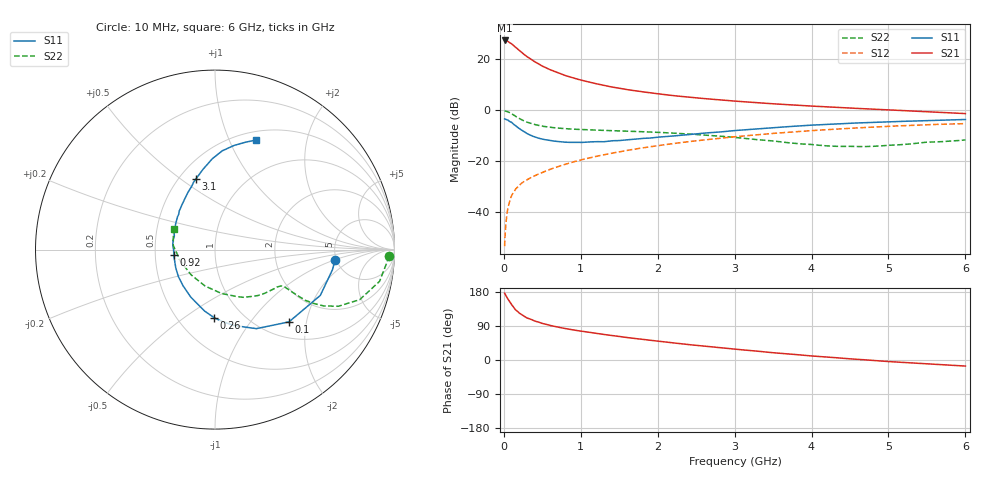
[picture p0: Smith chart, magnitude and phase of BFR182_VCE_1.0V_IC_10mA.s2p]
! Infineon Technologies  Discrete & RF Semiconductors
! BFR182
! VCE =  1.0 V,  IC =  10 mA
! Common Emitter S-Parameters:  Nov 2015
# GHz  S  MA  R  50
!  f  S11  S21  S12  S22
! GHz  MAG  ANG  MAG  ANG  MAG  ANG  MAG  ANG
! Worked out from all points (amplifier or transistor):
!   210 points, 10 MHz to 6 GHz, reference 50 ohm
!   highest |S21| = 27.4 dB at 10 MHz (marker M1)
!   |S21| within 3 dB of that: start of sweep to 165.8 MHz
!   unconditionally stable (mu >= 1): 656.1 MHz to 2.893 GHz
!   at 185 MHz: K = 0.55, MSG = 27.0 dB, |S12| = -30.1 dB
!   at 1.52 GHz: K = 1.08, MAG = 10.7 dB, |S12| = -16.3 dB
!   at 6 GHz: K = 0.93, MSG = 2.0 dB, |S12| = -5.3 dB
!   S11 on the Smith chart (normalised r, x): 10 MHz: 4.84, -1.05; 100 MHz: 1.32, -1.59; 260 MHz: 0.74, -0.66; 920 MHz: 0.63, -0.04; 3.1 GHz: 0.60, +0.57; 6 GHz: 0.59, +1.27
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0.01  0.6712 -5.1  23.47 176.3  0.0021 90.8  0.9694 -2.1
0.02  0.6641 -9.7  23.38 172.3  0.0043 85.0  0.9598 -4.4
0.05  0.6399 -23.5  22.7 161.6  0.0112 81.1  0.9338 -10.9
0.1  0.5763 -44.3  20.2 146.2  0.0207 72.8  0.8532 -19.1
0.15  0.4969 -62.4  17.42 132.9  0.0275 66.6  0.7575 -24.6
0.2  0.4352 -76.2  15.02 124.0  0.0331 63.9  0.6823 -27.4
0.24  0.3963 -86.0  13.32 118.3  0.0373 62.8  0.6363 -28.4
0.26  0.3793 -90.7  12.59 115.7  0.0391 62.8  0.6157 -28.8
0.3  0.3473 -99.6  11.3 111.0  0.0425 63.3  0.5794 -29.3
0.4  0.2974 -116.9  8.973 103.0  0.0509 63.7  0.5188 -29.1
0.5  0.2687 -131.6  7.344 96.5  0.0593 64.6  0.4818 -28.7
0.6  0.2535 -143.6  6.248 91.2  0.0681 65.5  0.459 -28.4
0.7  0.2411 -155.1  5.429 86.7  0.077 65.9  0.4426 -28.3
0.8  0.2334 -163.6  4.784 82.8  0.0859 66.0  0.431 -28.4
0.92  0.2313 -173.2  4.211 78.7  0.0971 66.5  0.4202 -28.8
1.02  0.2314 179.4  3.838 75.6  0.1061 66.5  0.4139 -29.6
1.4  0.2494 156.5  2.855 64.8  0.1414 65.1  0.3945 -33.6
2.02  0.2944 132.2  2.079 49.4  0.2014 60.9  0.3643 -42.8
3.1  0.406 105.4  1.467 26.8  0.3081 50.1  0.2802 -67.5
4.1  0.5145 90.5  1.178 9.3  0.4032 38.3  0.2032 -110.4
5.1  0.5953 78.6  0.996 -5.3  0.4871 25.5  0.206 -166.9
6  0.6534 69.3  0.854 -16.0  0.5421 13.1  0.2586 153.3
